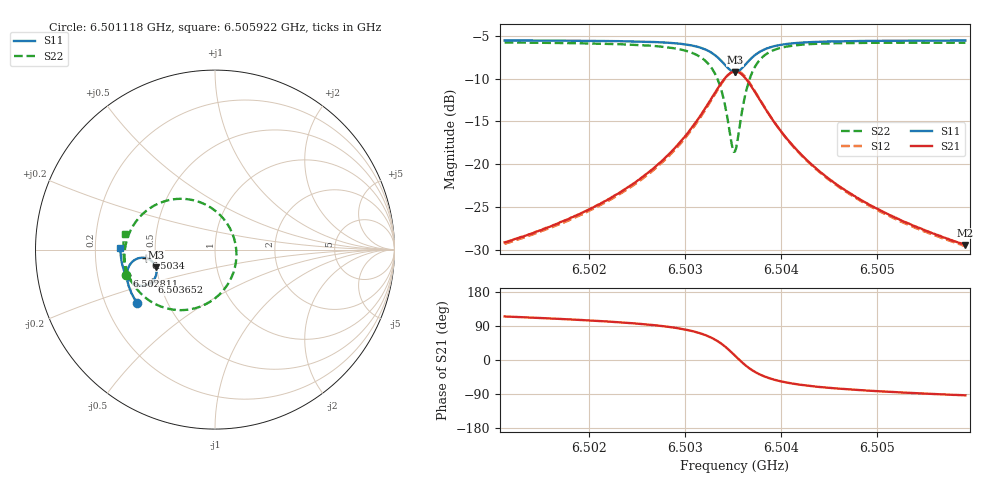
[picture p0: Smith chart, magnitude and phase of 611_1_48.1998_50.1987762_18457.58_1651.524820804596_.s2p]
#  HZ  S  RI  R  50.00
! Rohde & Schwarz Vector Network Analyzer
! Rohde-Schwarz,ZNB20-2Port,1311601062101988,3.16
! Created: UTC 3/20/2024, 12:03:30 PM
! freq[Hz]  re:S11  im:S11  re:S21  im:S21  re:S12  im:S12  re:S22  im:S22
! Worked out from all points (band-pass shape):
!   401 points, 6.501118 GHz to 6.505922 GHz, reference 50 ohm
!   highest |S21| = -9.19 dB at 6.50352 GHz (marker M1); lowest = -29.4 dB at 6.505922 GHz (marker M2)
!   |S21| within 3 dB of the highest: 6.503282 GHz to 6.503762 GHz (479.9 kHz wide, 0.00738 % of centre)
!   lowest |S11| = -9.3 dB at 6.50352 GHz (marker M3), VSWR 2.05, Z = 24.8 - j5.61 ohm
!   |S11| at or under -10 dB: nowhere
!   |S22| runs from -18.6 to -5.8 dB; largest |S21 - S12| = 0.012
!   S11 on the Smith chart (normalised r, x): 6.501118 GHz: 0.34, -0.28; 6.502811 GHz: 0.33, -0.13; 6.5034 GHz: 0.44, -0.05; 6.503652 GHz: 0.45, -0.19; 6.505922 GHz: 0.31, +0.01
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6.5011182e9  -0.4342 -0.2986  -0.0148 0.0318  -0.013 0.0319  -0.4938 -0.1406
6.5019228e9  -0.4677 -0.2378  -0.0139 0.0503  -0.0114 0.0497  -0.5044 -0.0524
6.5023551e9  -0.4823 -0.1984  -0.0107 0.0697  -0.00774 0.0687  -0.5001 0.0112
6.5027273e9  -0.4904 -0.1559  -0.00103 0.101  0.00264 0.0985  -0.4783 0.0893
6.5028114e9  -0.4908 -0.1443  0.00392 0.1118  0.0077 0.1088  -0.4676 0.1123
6.5030155e9  -0.4861 -0.1104  0.0269 0.1467  0.0306 0.1425  -0.4198 0.1813
6.5031596e9  -0.4716 -0.0801  0.065 0.181  0.0678 0.1752  -0.346 0.241
6.5033037e9  -0.4329 -0.0502  0.148 0.2105  0.1488 0.2043  -0.1949 0.2829
6.5033998e9  -0.3854 -0.0475  0.2413 0.1941  0.2415 0.1897  -0.0332 0.2401
6.5034838e9  -0.3412 -0.077  0.3219 0.1187  0.3247 0.1147  0.0962 0.0911
6.5035199e9  -0.3297 -0.0997  0.3404 0.0687  0.3445 0.0636  0.1187 -0.00265
6.5035439e9  -0.3265 -0.1163  0.3442 0.0331  0.3488 0.0267  0.1169 -0.0679
6.5035799e9  -0.3284 -0.1414  0.3373 -0.0183  0.3413 -0.0273  0.0897 -0.1597
6.503652e9  -0.3511 -0.1799  0.2895 -0.0974  0.29 -0.1093  -0.023 -0.2878
6.5037e9  -0.3722 -0.1941  0.2484 -0.1272  0.2459 -0.1391  -0.1095 -0.3265
6.50376e9  -0.3978 -0.2013  0.2 -0.1444  0.1948 -0.1547  -0.2047 -0.3371
6.5039161e9  -0.4465 -0.1921  0.1133 -0.1402  0.1061 -0.1458  -0.3607 -0.2872
6.5040843e9  -0.475 -0.1705  0.0665 -0.1186  0.0602 -0.1211  -0.4362 -0.2191
6.5043244e9  -0.4962 -0.1408  0.0353 -0.0925  0.0303 -0.0932  -0.4813 -0.1442
6.5046727e9  -0.5115 -0.1032  0.016 -0.0685  0.0125 -0.0682  -0.504 -0.0702
6.505129e9  -0.5214 -0.0599  0.00535 -0.0504  0.00307 -0.0499  -0.5109 -0.00231
6.5059215e9  -0.5266 0.00784  -0.00195 -0.0339  -0.00331 -0.0332  -0.5039 0.0843
